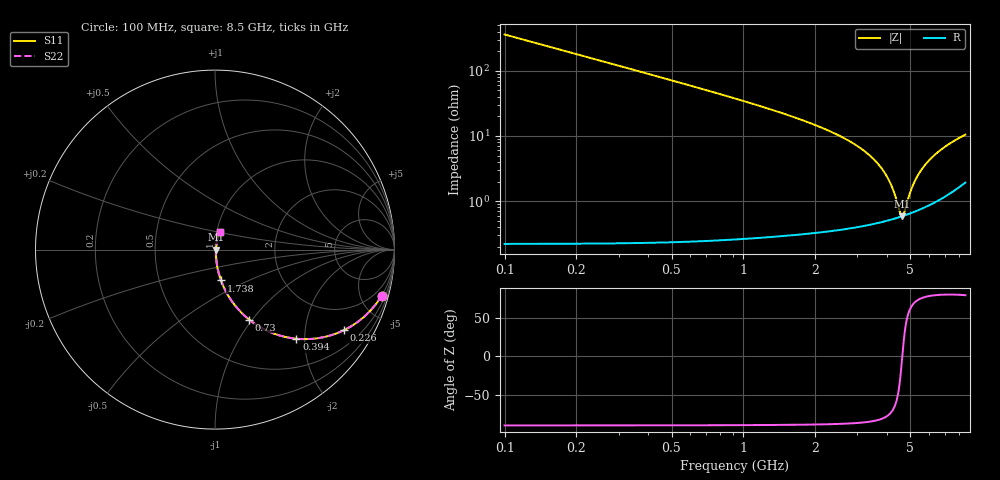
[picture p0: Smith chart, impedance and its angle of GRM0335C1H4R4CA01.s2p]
!Murata Part Number: GRM0335C1H4R4CA01
!These Parameters are Measured in Series Mode Connection
!Data Generated on Mar 30, 2021
!  o--ll--o
!Port1  Port2
!  o------o
!Operation Temp=25[degC], DC Bias Voltage=0[V]
!Freq. Start=100[MHz] Stop=9[GHz] 401[Steps]
# Hz S RI R 50
!Freq.(Hz) S11(Real) S11(Imag) S21(Real) S21(Imag) S12(Real) S12(Imag) S22(Real) S22(Imag)
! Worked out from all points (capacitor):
!   401 points, 100 MHz to 8.5 GHz, reference 50 ohm
!   read as one part in series: C = 4.4 pF near 142 MHz
!   lowest |Z| = 587 mohm at 4.615 GHz (marker M1)
!   series resonance near 4.626 GHz, so ESL is about 270 pH
!   S11 on the Smith chart (normalised r, x): 100 MHz: 1.00, -7.23; 226 MHz: 1.00, -3.19; 394 MHz: 1.00, -1.82; 730 MHz: 1.00, -0.97; 1.738 GHz: 1.01, -0.36; 8.5 GHz: 1.04, +0.21
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1e8  0.9288 -0.2569  0.0712 0.2569  0.0712 0.2569  0.9288 -0.2569
2.26e8  0.718 -0.4493  0.282 0.4493  0.282 0.4493  0.718 -0.4493
3.94e8  0.4538 -0.4966  0.5462 0.4966  0.5462 0.4966  0.4538 -0.4966
5.41e8  0.3036 -0.458  0.6964 0.458  0.6964 0.458  0.3036 -0.458
7.3e8  0.1904 -0.3901  0.8096 0.3901  0.8096 0.3901  0.1904 -0.3901
1.045e9  0.0992 -0.2949  0.9008 0.2949  0.9008 0.2949  0.0992 -0.2949
1.507e9  0.0465 -0.2039  0.9535 0.2039  0.9535 0.2039  0.0465 -0.2039
1.738e9  0.0337 -0.1722  0.9663 0.1722  0.9663 0.1722  0.0337 -0.1722
2.914e9  0.00943 -0.074  0.9906 0.074  0.9906 0.074  0.00943 -0.074
3.397e9  0.00672 -0.0487  0.9933 0.0487  0.9933 0.0487  0.00672 -0.0487
3.775e9  0.00575 -0.0318  0.9943 0.0318  0.9943 0.0318  0.00575 -0.0318
4.069e9  0.00548 -0.02  0.9945 0.02  0.9945 0.02  0.00548 -0.02
4.3e9  0.0055 -0.0114  0.9945 0.0114  0.9945 0.0114  0.0055 -0.0114
4.531e9  0.00571 -0.00325  0.9943 0.00325  0.9943 0.00325  0.00571 -0.00325
4.615e9  0.00583 -0.000384  0.9942 0.000384  0.9942 0.000384  0.00583 -0.000384
4.699e9  0.00596 0.00243  0.994 -0.00243  0.994 -0.00243  0.00596 0.00243
4.951e9  0.00648 0.0106  0.9935 -0.0106  0.9935 -0.0106  0.00648 0.0106
5.161e9  0.00704 0.0171  0.993 -0.0171  0.993 -0.0171  0.00704 0.0171
5.707e9  0.00897 0.0329  0.991 -0.0329  0.991 -0.0329  0.00897 0.0329
6.316e9  0.0119 0.0492  0.9881 -0.0492  0.9881 -0.0492  0.0119 0.0492
7.114e9  0.0169 0.0687  0.9831 -0.0687  0.9831 -0.0687  0.0169 0.0687
8.5e9  0.0289 0.0982  0.9711 -0.0982  0.9711 -0.0982  0.0289 0.0982
